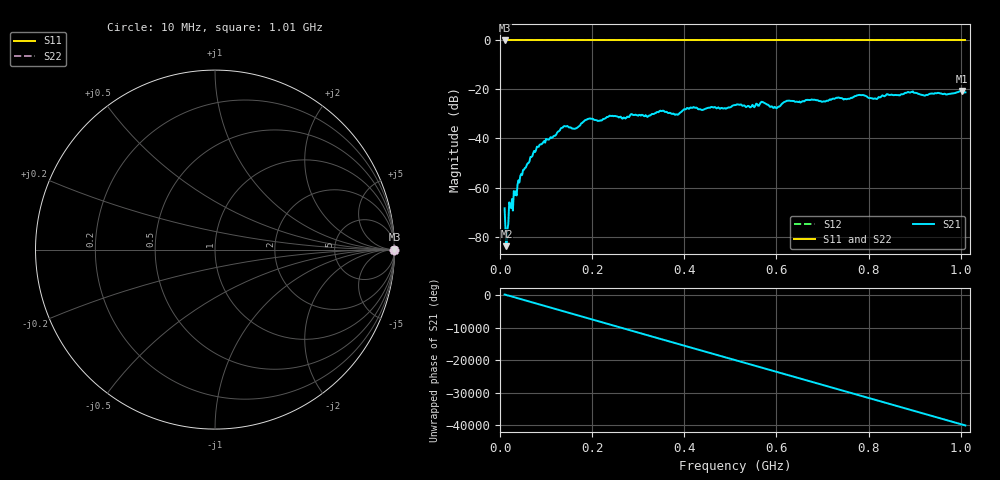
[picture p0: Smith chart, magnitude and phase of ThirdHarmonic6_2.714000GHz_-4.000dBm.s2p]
! 8/17/2025 6:34:28 AM
! C:\ANRITSUVNA\TEMP\TEMP.S2P
! CHANNEL.1
! TR.MEASUREMENT
! RAW.DATA
! RF.CORRECTION.OFF
! AVERAGING.OFF
! IF.BANDWIDTH: 5KHZ
! SWEEPTYPE:  FREQ.SWEEP(Linear)
! Reference Plane Port Info
! PORT:  PORT1  PORT2
! DISTANCE:  0  m  0  m
! TIME:  0  s  0  s
! PHASE.OFFSET:  0  deg.  0  deg.
! LOSS:  0  dB  0  dB
! REF.LOSS:  0  dB  0  dB
! REF.FREQ:  0  Hz  0  Hz
! Power Info
! POWER:  -20  dBm  -20  dBm
! EFF.POWER:  -20  dBm  -20  dBm
! SOURCE.ATTEN:  0  dB  0  dB
! TEST.ATTEN:  0  dB  0  dB
# GHZ S RI R 50.0
! FREQ.GHZ  S11RE  S11IM  S21RE  S21IM  S12RE  S12IM  S22RE  S22IM
!; PortSelection: Port_12
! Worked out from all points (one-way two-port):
!   501 points, 10 MHz to 1.01 GHz, reference 50 ohm
!   highest |S21| = -20.56 dB at 1.002 GHz (marker M1); lowest = -83.9 dB at 14 MHz (marker M2)
!   lowest |S11| = 0.0 dB at 10 MHz (marker M3)
!   |S11| at or under -10 dB: nowhere
!   |S22| runs from 0.0 to 0.0 dB; largest |S21 - S12| = 1.1
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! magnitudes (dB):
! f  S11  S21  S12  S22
! 10 MHz  0.0  -68.5  0.0  0.0
! 14 MHz  0.0  -83.9  0.0  0.0
! 16 MHz  0.0  -77.2  0.0  0.0
! 22 MHz  0.0  -67.1  0.0  0.0
! 42 MHz  0.0  -58.0  0.0  0.0
! 78 MHz  0.0  -44.8  0.0  0.0
! 136 MHz  0.0  -35.6  0.0  0.0
! 164 MHz  0.0  -35.9  0.0  0.0
! 178 MHz  0.0  -33.7  0.0  0.0
! 194 MHz  0.0  -31.8  0.0  0.0
! 322 MHz  0.0  -30.9  0.0  0.0
! 344 MHz  0.0  -29.3  0.0  0.0
! 384 MHz  0.0  -30.2  0.0  0.0
! 416 MHz  0.0  -27.5  0.0  0.0
! 510 MHz  0.0  -26.4  0.0  0.0
! 570 MHz  0.0  -25.1  0.0  0.0
! 598 MHz  0.0  -27.3  0.0  0.0
! 624 MHz  0.0  -24.6  0.0  0.0
! 678 MHz  0.0  -24.2  0.0  0.0
! 844 MHz  0.0  -22.2  0.0  0.0
! 1.002 GHz  0.0  -20.6  0.0  0.0
! 1.01 GHz  0.0  -21.2  0.0  0.0
